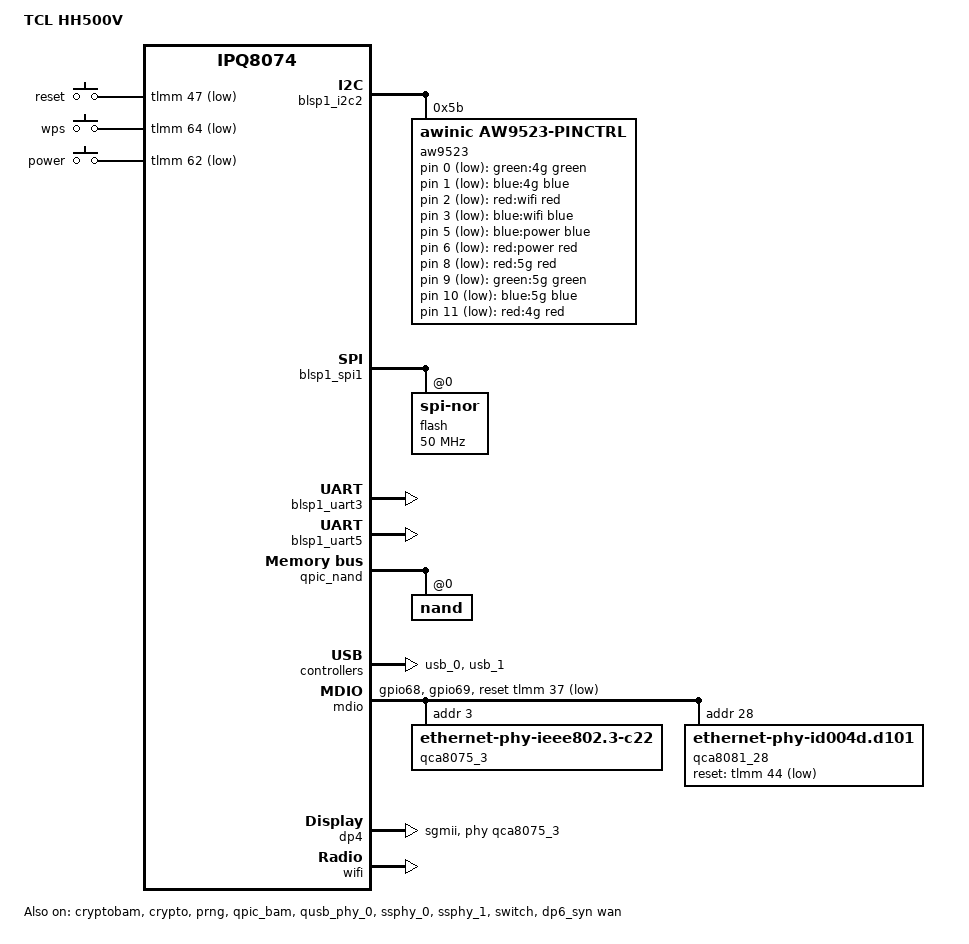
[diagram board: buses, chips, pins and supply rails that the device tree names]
// SPDX-License-Identifier: GPL-2.0-or-later OR MIT

/dts-v1/;

#include "ipq8074.dtsi"
#include "ipq8074-hk-cpu.dtsi"
#include "ipq8074-ess.dtsi"
#include <dt-bindings/gpio/gpio.h>
#include <dt-bindings/input/input.h>
#include <dt-bindings/leds/common.h>

/ {
	model = "TCL HH500V";
	compatible = "tcl,hh500v", "qcom,ipq8074";

	aliases {
		led-boot = &led_power_blue;
		led-failsafe = &led_power_red;
		led-running = &led_power_blue;
		led-upgrade = &led_power_red;
		serial0 = &blsp1_uart5;
		/* Aliases as required by u-boot to patch MAC addresses */
		ethernet3 = &dp4;
		ethernet5 = &dp6;
	};

	chosen {
		stdout-path = "serial0:115200n8";
//		bootargs-append = " root=/dev/ubiblock0_1";
	};

	keys {
		compatible = "gpio-keys";
		pinctrl-0 = <&button_pins>;
		pinctrl-names = "default";

		reset {
			label = "reset";
			linux,code = <KEY_RESTART>;
			gpios = <&tlmm 47 GPIO_ACTIVE_LOW>;
		};

		wps {
			label = "wps";
			linux,code = <KEY_WPS_BUTTON>;
			gpios = <&tlmm 64 GPIO_ACTIVE_LOW>;
		};

		power {
			label = "power";
			gpios = <&tlmm 62 GPIO_ACTIVE_LOW>;
			linux,code = <KEY_POWER>;
		};
	};

	leds {
		compatible = "gpio-leds";
		pinctrl-names = "default";
		pinctrl-0 = <&led_pins>;

		4g_green {
			label = "green:4g";
			color = <LED_COLOR_ID_GREEN>;
			gpios = <&aw9523 0 GPIO_ACTIVE_LOW>;
		};

		4g_blue {
			label = "blue:4g";
			color = <LED_COLOR_ID_BLUE>;
			gpios = <&aw9523 1 GPIO_ACTIVE_LOW>;
		};

		wifi_red {
			label = "red:wifi";
			color = <LED_COLOR_ID_RED>;
			gpios = <&aw9523 2 GPIO_ACTIVE_LOW>;
		};

		wifi_blue {
			label = "blue:wifi";
			color = <LED_COLOR_ID_BLUE>;
			gpios = <&aw9523 3 GPIO_ACTIVE_LOW>;
		};

		led_power_blue: power_blue {
			label = "blue:power";
			color = <LED_COLOR_ID_BLUE>;
			gpios = <&aw9523 5 GPIO_ACTIVE_LOW>;
		};

		led_power_red: power_red {
			label = "red:power";
			color = <LED_COLOR_ID_RED>;
			gpios = <&aw9523 6 GPIO_ACTIVE_LOW>;
		};

		5g_red {
			label = "red:5g";
			color = <LED_COLOR_ID_RED>;
			gpios = <&aw9523 8 GPIO_ACTIVE_LOW>;
		};

		5g_green {
			label = "green:5g";
			color = <LED_COLOR_ID_GREEN>;
			gpios = <&aw9523 9 GPIO_ACTIVE_LOW>;
		};

		5g_blue {
			label = "blue:5g";
			color = <LED_COLOR_ID_BLUE>;
			gpios = <&aw9523 10 GPIO_ACTIVE_LOW>;
		};

		4g_red {
			label = "red:4g";
			color = <LED_COLOR_ID_RED>;
			gpios = <&aw9523 11 GPIO_ACTIVE_LOW>;
		};
	};
};

&tlmm {
	mdio_pins: mdio-pins {
		mdc {
			pins = "gpio68";
			function = "mdc";
			drive-strength = <8>;
			bias-pull-up;
		};

		mdio {
			pins = "gpio69";
			function = "mdio";
			drive-strength = <8>;
			bias-pull-up;
		};
	};

	button_pins: button-pins {
		power_button {
			bias-pull-up;
			drive-strength = <8>;
			function = "gpio";
			pins = "gpio62";
		};

		reset_button {
			bias-pull-up;
			drive-strength = <8>;
			function = "gpio";
			pins = "gpio47";
		};

		wps_button {
			bias-pull-up;
			drive-strength = <8>;
			function = "gpio";
			pins = "gpio64";
		};
	};
};

&blsp1_i2c2 {
	status = "okay";

	aw9523: gpio-expander@91 {
		compatible = "awinic,aw9523-pinctrl";
		reg = <91>;
		gpio-controller;
		gpio-ranges = <&aw9523 0 0 16>;

		led_pins: led-pins {
			pins =
				"gpio0", "gpio1", "gpio2", "gpio3", "gpio5", "gpio6",
				"gpio8", "gpio9", "gpio10", "gpio11";
			function = "gpio";
			input-disable;
			output-low;
		};
	};
};

&blsp1_spi1 {
	status = "okay";

	flash@0 {
		#address-cells = <1>;
		#size-cells = <1>;
		compatible = "jedec,spi-nor";
		spi-max-frequency = <50000000>;

		partitions {
			compatible = "qcom,smem-part";
		};
	};
};

&blsp1_uart3 {
	status = "okay";
};

&blsp1_uart5 {
	status = "okay";
};

&cryptobam {
	status = "okay";
};

&crypto {
	status = "okay";
};

&prng {
	status = "okay";
};

&qpic_bam {
	status = "okay";
};

&qpic_nand {
	status = "okay";

	nand@0 {
		nand-bus-width = <8>;
		nand-ecc-step-size = <512>;
		nand-ecc-strength = <4>;
		reg = <0>;

		partitions {
			compatible = "qcom,smem-part";
		};
	};

};

&qusb_phy_0 {
	status = "okay";
};

&qusb_phy_0 {
	status = "okay";
};

&ssphy_0 {
	status = "okay";
};

&ssphy_1 {
	status = "okay";
};

&usb_0 {
	status = "okay";
};

&usb_1 {
	status = "okay";
};

&mdio {
	status = "okay";

	pinctrl-0 = <&mdio_pins>;
	pinctrl-names = "default";
	reset-gpios = <&tlmm 37 GPIO_ACTIVE_LOW>;

	qca8075_3: ethernet-phy@3 {
		compatible = "ethernet-phy-ieee802.3-c22";
		reg = <3>;
	};

	qca8081_28: ethernet-phy@28 {
		compatible = "ethernet-phy-id004d.d101";
		reg = <28>;
		reset-gpios = <&tlmm 44 GPIO_ACTIVE_LOW>;
	};
};

&switch {
	status = "okay";

	switch_lan_bmp = <(ESS_PORT1 | ESS_PORT2 | ESS_PORT3 | ESS_PORT4 | ESS_PORT5)>;
	switch_wan_bmp = <ESS_PORT6>;
	switch_mac_mode = <MAC_MODE_PSGMII>;
	switch_mac_mode2 = <MAC_MODE_SGMII_CHANNEL0>;

	qcom,port_phyinfo {
			port@0 {
				phy_address = <0>;
				port_id = <1>;
			};

			port@1 {
				phy_address = <1>;
				port_id = <2>;
			};

			port@2 {
				phy_address = <2>;
				port_id = <3>;
			};

			port@3 {
				phy_address = <3>;
				port_id = <4>;
			};

			port@4 {
				phy_address = <4>;
				port_id = <5>;
			};

			port@5 {
				phy_address = <28>;
				port_id = <6>;
				port_mac_sel = "QGMAC_PORT";
			};
		};

};

&edma {
	status = "okay";
};

&dp4 {
	status = "okay";
	phy-mode = "sgmii";
	phy-handle = <&qca8075_3>;
	label = "lan";
};

&dp6_syn {
	status = "okay";
	//phy-mode = "qsgmii";
	phy-handle = <&qca8081_28>;
	label = "wan";
};

&wifi {
	status = "okay";

	qcom,ath11k-calibration-variant = "TCL-HH500V";
};
